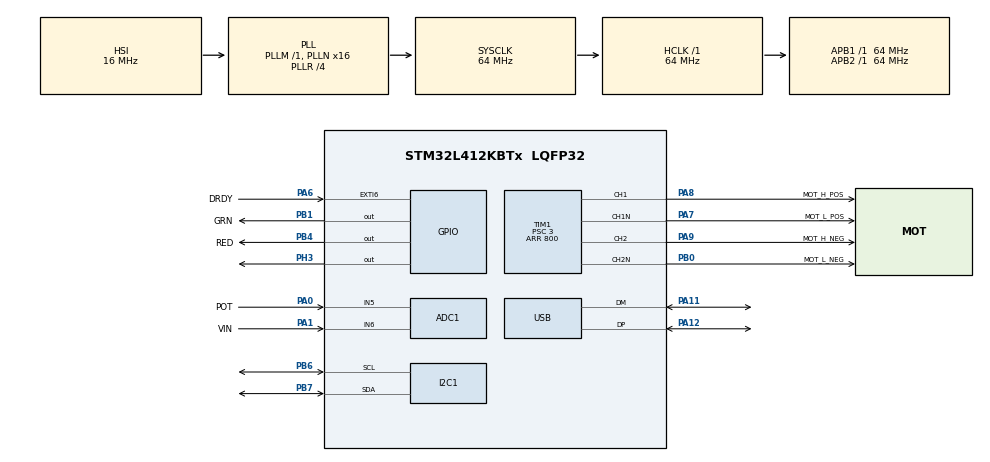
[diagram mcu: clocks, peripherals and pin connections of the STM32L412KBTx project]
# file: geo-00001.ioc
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ADC1.Channel-0\#ChannelRegularConversion=ADC_CHANNEL_VREFINT
ADC1.Channel-1\#ChannelRegularConversion=ADC_CHANNEL_5
ADC1.Channel-2\#ChannelRegularConversion=ADC_CHANNEL_6
ADC1.DMAContinuousRequests=ENABLE
ADC1.EnableInjectedConversion=DISABLE
ADC1.ExternalTrigConv=ADC_EXTERNALTRIG_T1_CC3
ADC1.ExternalTrigConvEdge=ADC_EXTERNALTRIGCONVEDGE_RISINGFALLING
ADC1.NbrOfConversion=3
ADC1.NbrOfConversionFlag=1
ADC1.OffsetNumber-0\#ChannelRegularConversion=ADC_OFFSET_NONE
ADC1.OffsetNumber-1\#ChannelRegularConversion=ADC_OFFSET_NONE
ADC1.OffsetNumber-2\#ChannelRegularConversion=ADC_OFFSET_NONE
ADC1.Rank-0\#ChannelRegularConversion=1
ADC1.Rank-1\#ChannelRegularConversion=2
ADC1.Rank-2\#ChannelRegularConversion=3
ADC1.SamplingTime-0\#ChannelRegularConversion=ADC_SAMPLETIME_6CYCLES_5
ADC1.SamplingTime-1\#ChannelRegularConversion=ADC_SAMPLETIME_24CYCLES_5
ADC1.SamplingTime-2\#ChannelRegularConversion=ADC_SAMPLETIME_92CYCLES_5
ADC1.master=1
ARM.CMSIS.5.6.0.CMSISJjDSP=Library
Dma.ADC1.0.Direction=DMA_PERIPH_TO_MEMORY
Dma.ADC1.0.Instance=DMA1_Channel1
Dma.ADC1.0.MemDataAlignment=DMA_MDATAALIGN_HALFWORD
Dma.ADC1.0.MemInc=DMA_MINC_ENABLE
Dma.ADC1.0.Mode=DMA_CIRCULAR
Dma.ADC1.0.PeriphDataAlignment=DMA_PDATAALIGN_HALFWORD
Dma.ADC1.0.PeriphInc=DMA_PINC_DISABLE
Dma.ADC1.0.Priority=DMA_PRIORITY_LOW
Dma.Request0=ADC1
FREERTOS.HEAP_NUMBER=1
FREERTOS.Tasks01=initial,24,200,StartInitialTask,Default,NULL,Static,initialBuffer,initialControlBlock
FREERTOS.configCHECK_FOR_STACK_OVERFLOW=2
FREERTOS.configENABLE_BACKWARD_COMPATIBILITY=0
FREERTOS.configENABLE_FPU=1
FREERTOS.configMAX_TASK_NAME_LEN=16
FREERTOS.configRECORD_STACK_HIGH_ADDRESS=1
FREERTOS.configTICK_RATE_HZ=100
FREERTOS.configUSE_IDLE_HOOK=1
FREERTOS.configUSE_MALLOC_FAILED_HOOK=1
I2C1.Timing=0x10707DBC
Mcu.Family=STM32L4
Mcu.Name=STM32L412KBTx
Mcu.Package=LQFP32
NVIC.ADC1_2_IRQn=true\:4\:0\:true\:false\:true\:false\:true\:false
NVIC.EXTI9_5_IRQn=true\:7\:0\:true\:false\:true\:false\:true\:true
NVIC.I2C1_ER_IRQn=true\:6\:0\:true\:false\:true\:false\:true\:false
NVIC.I2C1_EV_IRQn=true\:6\:0\:true\:false\:true\:false\:true\:false
NVIC.PriorityGroup=NVIC_PRIORITYGROUP_4
NVIC.TIM2_IRQn=true\:0\:0\:false\:false\:true\:false\:false\:true
NVIC.TimeBase=TIM2_IRQn
NVIC.TimeBaseIP=TIM2
NVIC.USB_IRQn=true\:2\:0\:true\:false\:true\:false\:false\:true
PA0-CK_IN.GPIO_Label=POT
PA0-CK_IN.Signal=ADCx_IN5
PA1.GPIO_Label=VIN
PA1.Signal=ADCx_IN6
PA11.Mode=Device
PA11.Signal=USB_DM
PA12.Mode=Device
PA12.Signal=USB_DP
PA13\ (JTMS/SWDIO).Mode=Trace_Asynchronous_SW
PA13\ (JTMS/SWDIO).Signal=SYS_JTMS-SWDIO
PA14\ (JTCK/SWCLK).Mode=Trace_Asynchronous_SW
PA14\ (JTCK/SWCLK).Signal=SYS_JTCK-SWCLK
PA2.GPIO_Label=IMOT
PA2.Signal=ADCx_IN7
PA6.GPIO_Label=DRDY
PA6.GPIO_ModeDefaultEXTI=GPIO_MODE_IT_RISING
PA6.Signal=GPXTI6
PA7.GPIO_Label=MOT_L_POS
PA7.GPIO_Speed=GPIO_SPEED_FREQ_HIGH
PA7.Mode=PWM Generation1 CH1 CH1N
PA7.Signal=TIM1_CH1N
PA8.GPIO_Label=MOT_H_POS
PA8.GPIO_Speed=GPIO_SPEED_FREQ_HIGH
PA8.Signal=S_TIM1_CH1
PA9.GPIO_Label=MOT_H_NEG
PA9.GPIO_Speed=GPIO_SPEED_FREQ_HIGH
PA9.Signal=S_TIM1_CH2
PB0.GPIO_Label=MOT_L_NEG
PB0.GPIO_Speed=GPIO_SPEED_FREQ_HIGH
PB0.Mode=PWM Generation2 CH2 CH2N
PB0.Signal=TIM1_CH2N
PB1.GPIO_Label=GRN
PB1.Signal=GPIO_Output
PB3\ (JTDO/TRACESWO).Mode=Trace_Asynchronous_SW
PB3\ (JTDO/TRACESWO).Signal=SYS_JTDO-SWO
PB4\ (NJTRST).GPIO_Label=RED
PB4\ (NJTRST).Signal=GPIO_Output
PB6.Mode=I2C
PB6.Signal=I2C1_SCL
PB7.Mode=I2C
PB7.Signal=I2C1_SDA
PH3-BOOT0\ (BOOT0).Signal=GPIO_Output
ProjectManager.HeapSize=0x400
ProjectManager.StackSize=0x400
ProjectManager.TargetToolchain=SW4STM32
RCC.ADCFreq_Value=64000000
RCC.AHBFreq_Value=64000000
RCC.APB1Freq_Value=64000000
RCC.APB1TimFreq_Value=64000000
RCC.APB2Freq_Value=64000000
RCC.APB2TimFreq_Value=64000000
RCC.CK48CLockSelection=RCC_USBCLKSOURCE_HSI48
RCC.CortexFreq_Value=64000000
RCC.HCLKFreq_Value=64000000
RCC.HSE_VALUE=8000000
RCC.HSI48_VALUE=48000000
RCC.HSI_VALUE=16000000
RCC.LSE_VALUE=32768
RCC.MSIClockRange=RCC_MSIRANGE_11
RCC.MSI_VALUE=48000000
RCC.PLLN=16
RCC.PLLR=RCC_PLLR_DIV4
RCC.PLLSourceVirtual=RCC_PLLSOURCE_HSI
RCC.SYSCLKFreq_VALUE=64000000
RCC.SYSCLKSource=RCC_SYSCLKSOURCE_PLLCLK
RCC.USBFreq_Value=48000000
RCC.VCOOutputFreq_Value=256000000
SH.ADCx_IN5.0=ADC1_IN5,IN5-Single-Ended
SH.ADCx_IN6.0=ADC1_IN6,IN6-Single-Ended
SH.ADCx_IN7.0=ADC1_IN7
SH.S_TIM1_CH1.0=TIM1_CH1,PWM Generation1 CH1 CH1N
SH.S_TIM1_CH2.0=TIM1_CH2,PWM Generation2 CH2 CH2N
TIM1.AutomaticOutput=TIM_AUTOMATICOUTPUT_ENABLE
TIM1.Channel-Output\ Compare3\ No\ Output=TIM_CHANNEL_3
TIM1.Channel-PWM\ Generation1\ CH1\ CH1N=TIM_CHANNEL_1
TIM1.Channel-PWM\ Generation2\ CH2\ CH2N=TIM_CHANNEL_2
TIM1.CounterMode=TIM_COUNTERMODE_CENTERALIGNED1
TIM1.DeadTime=1
TIM1.OCMode_3=TIM_OCMODE_TOGGLE
TIM1.OCNIdleState_1=TIM_OCNIDLESTATE_SET
TIM1.OCNIdleState_2=TIM_OCNIDLESTATE_SET
TIM1.Period=800
TIM1.Prescaler=3
TIM1.Pulse-Output\ Compare3\ No\ Output=800
TIM1.TIM_MasterOutputTrigger=TIM_TRGO_OC3REF
USB_DEVICE.APP_RX_DATA_SIZE=1000
USB_DEVICE.APP_TX_DATA_SIZE=1000
USB_DEVICE.CLASS_NAME_FS=CDC
USB_DEVICE.USBD_DEBUG_LEVEL=3
USB_DEVICE.USBD_MAX_NUM_CONFIGURATION=1
USB_DEVICE.USBD_MAX_NUM_INTERFACES=1
USB_DEVICE.VirtualMode=Cdc
USB_DEVICE.VirtualModeFS=Cdc_FS
VP_ADC1_Vref_Input.Mode=IN-Vrefint
VP_ARM.CMSIS_VS_CMSISJjDSP_1.7.0.Mode=CMSISJjDSP
VP_FREERTOS_VS_CMSIS_V2.Mode=CMSIS_V2
VP_SYS_VS_tim2.Mode=TIM2
VP_TIM1_VS_ClockSourceINT.Mode=Internal
VP_TIM1_VS_no_output3.Mode=Output Compare3 No Output
VP_USB_DEVICE_VS_USB_DEVICE_CDC_FS.Mode=CDC_FS
board=custom

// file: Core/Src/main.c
/* USER CODE BEGIN Header */
/**
  ******************************************************************************
  * @file           : main.c
  * @brief          : Main program body
  ******************************************************************************
  * @attention
  *
  * <h2><center>&copy; Copyright (c) 2020 STMicroelectronics.
  * All rights reserved.</center></h2>
  *
  * This software component is licensed by ST under Ultimate Liberty license
  * SLA0044, the "License"; You may not use this file except in compliance with
  * the License. You may obtain a copy of the License at:
  *                             www.st.com/SLA0044
  *
  ******************************************************************************
  */
/* USER CODE END Header */
#include "main.h"
#include "cmsis_os.h"
#include "usb_device.h"

/* USER CODE BEGIN Includes */
#include "compass.h"
#include "motor.h"
#include <i2c.h>
#include "usb_io.h"
#include <SEGGER_RTT.h>
#include "FreeRTOS_CLI.h"
#include "calibration_constants.h"
/* USER CODE END Includes */

typedef StaticTask_t osStaticThreadDef_t;

/* Definitions for initial */
osThreadId_t initialHandle;
uint32_t initialBuffer[ 200 ];
osStaticThreadDef_t initialControlBlock;
const osThreadAttr_t initial_attributes = {
  .name = "initial",
  .stack_mem = &initialBuffer[0],
  .stack_size = sizeof(initialBuffer),
  .cb_mem = &initialControlBlock,
  .cb_size = sizeof(initialControlBlock),
  .priority = (osPriority_t) osPriorityNormal,
};

void SystemClock_Config(void);
static void MX_GPIO_Init(void);
static void MX_DMA_Init(void);
static void MX_ADC1_Init(void);
static void MX_I2C1_Init(void);
static void MX_TIM1_Init(void);
void StartInitialTask(void *argument);

/* USER CODE BEGIN 0 */

void vApplicationMallocFailedHook(){
  while(1);
}
/* USER CODE END 0 */

int main(void)
{

  /* MCU Configuration--------------------------------------------------------*/

  /* Reset of all peripherals, Initializes the Flash interface and the Systick. */
  HAL_Init();

  /* Configure the system clock */
  SystemClock_Config();

  /* Initialize all configured peripherals */
  MX_GPIO_Init();
  MX_DMA_Init();
  MX_ADC1_Init();
  MX_I2C1_Init();
  MX_TIM1_Init();

  /* Init scheduler */
  osKernelInitialize();

  /* Create the thread(s) */
  /* creation of initial */
  initialHandle = osThreadNew(StartInitialTask, NULL, &initial_attributes);

  /* Start scheduler */
  osKernelStart();

  /* We should never get here as control is now taken by the scheduler */
  /* Infinite loop */
  while (1)
  {

  }
}

void SystemClock_Config(void)
{
  RCC_OscInitTypeDef RCC_OscInitStruct = {0};
  RCC_ClkInitTypeDef RCC_ClkInitStruct = {0};
  RCC_PeriphCLKInitTypeDef PeriphClkInit = {0};

  /** Configure the main internal regulator output voltage
  */
  if (HAL_PWREx_ControlVoltageScaling(PWR_REGULATOR_VOLTAGE_SCALE1) != HAL_OK)
  {
    Error_Handler();
  }
  /** Initializes the RCC Oscillators according to the specified parameters
  * in the RCC_OscInitTypeDef structure.
  */
  RCC_OscInitStruct.OscillatorType = RCC_OSCILLATORTYPE_HSI48|RCC_OSCILLATORTYPE_HSI;
  RCC_OscInitStruct.HSIState = RCC_HSI_ON;
  RCC_OscInitStruct.HSI48State = RCC_HSI48_ON;
  RCC_OscInitStruct.HSICalibrationValue = RCC_HSICALIBRATION_DEFAULT;
  RCC_OscInitStruct.PLL.PLLState = RCC_PLL_ON;
  RCC_OscInitStruct.PLL.PLLSource = RCC_PLLSOURCE_HSI;
  RCC_OscInitStruct.PLL.PLLM = 1;
  RCC_OscInitStruct.PLL.PLLN = 16;
  RCC_OscInitStruct.PLL.PLLQ = RCC_PLLQ_DIV2;
  RCC_OscInitStruct.PLL.PLLR = RCC_PLLR_DIV4;
  if (HAL_RCC_OscConfig(&RCC_OscInitStruct) != HAL_OK)
  {
    Error_Handler();
  }
  /** Initializes the CPU, AHB and APB buses clocks
  */
  RCC_ClkInitStruct.ClockType = RCC_CLOCKTYPE_HCLK|RCC_CLOCKTYPE_SYSCLK
                              |RCC_CLOCKTYPE_PCLK1|RCC_CLOCKTYPE_PCLK2;
  RCC_ClkInitStruct.SYSCLKSource = RCC_SYSCLKSOURCE_PLLCLK;
  RCC_ClkInitStruct.AHBCLKDivider = RCC_SYSCLK_DIV1;
  RCC_ClkInitStruct.APB1CLKDivider = RCC_HCLK_DIV1;
  RCC_ClkInitStruct.APB2CLKDivider = RCC_HCLK_DIV1;

  if (HAL_RCC_ClockConfig(&RCC_ClkInitStruct, FLASH_LATENCY_3) != HAL_OK)
  {
    Error_Handler();
  }
  PeriphClkInit.PeriphClockSelection = RCC_PERIPHCLK_I2C1|RCC_PERIPHCLK_USB
                              |RCC_PERIPHCLK_ADC;
  PeriphClkInit.I2c1ClockSelection = RCC_I2C1CLKSOURCE_PCLK1;
  PeriphClkInit.UsbClockSelection = RCC_USBCLKSOURCE_HSI48;
  if (HAL_RCCEx_PeriphCLKConfig(&PeriphClkInit) != HAL_OK)
  {
    Error_Handler();
  }
}

static void MX_ADC1_Init(void)
{

  LL_ADC_InitTypeDef ADC_InitStruct = {0};
  LL_ADC_REG_InitTypeDef ADC_REG_InitStruct = {0};
  LL_ADC_CommonInitTypeDef ADC_CommonInitStruct = {0};

  LL_GPIO_InitTypeDef GPIO_InitStruct = {0};

  /* Peripheral clock enable */
  LL_AHB2_GRP1_EnableClock(LL_AHB2_GRP1_PERIPH_ADC);

  LL_AHB2_GRP1_EnableClock(LL_AHB2_GRP1_PERIPH_GPIOA);
  /**ADC1 GPIO Configuration
  PA0-CK_IN   ------> ADC1_IN5
  PA1   ------> ADC1_IN6
  PA2   ------> ADC1_IN7
  */
  GPIO_InitStruct.Pin = POT_Pin|VIN_Pin|IMOT_Pin;
  GPIO_InitStruct.Mode = LL_GPIO_MODE_ANALOG;
  GPIO_InitStruct.Pull = LL_GPIO_PULL_NO;
  LL_GPIO_Init(GPIOA, &GPIO_InitStruct);

  /* ADC1 DMA Init */

  /* ADC1 Init */
  LL_DMA_SetPeriphRequest(DMA1, LL_DMA_CHANNEL_1, LL_DMA_REQUEST_0);

  LL_DMA_SetDataTransferDirection(DMA1, LL_DMA_CHANNEL_1, LL_DMA_DIRECTION_PERIPH_TO_MEMORY);

  LL_DMA_SetChannelPriorityLevel(DMA1, LL_DMA_CHANNEL_1, LL_DMA_PRIORITY_LOW);

  LL_DMA_SetMode(DMA1, LL_DMA_CHANNEL_1, LL_DMA_MODE_CIRCULAR);

  LL_DMA_SetPeriphIncMode(DMA1, LL_DMA_CHANNEL_1, LL_DMA_PERIPH_NOINCREMENT);

  LL_DMA_SetMemoryIncMode(DMA1, LL_DMA_CHANNEL_1, LL_DMA_MEMORY_INCREMENT);

  LL_DMA_SetPeriphSize(DMA1, LL_DMA_CHANNEL_1, LL_DMA_PDATAALIGN_HALFWORD);

  LL_DMA_SetMemorySize(DMA1, LL_DMA_CHANNEL_1, LL_DMA_MDATAALIGN_HALFWORD);

  /* ADC1 interrupt Init */
  NVIC_SetPriority(ADC1_2_IRQn, NVIC_EncodePriority(NVIC_GetPriorityGrouping(),4, 0));
  NVIC_EnableIRQ(ADC1_2_IRQn);

  /** Common config
  */
  ADC_InitStruct.Resolution = LL_ADC_RESOLUTION_12B;
  ADC_InitStruct.DataAlignment = LL_ADC_DATA_ALIGN_RIGHT;
  ADC_InitStruct.LowPowerMode = LL_ADC_LP_MODE_NONE;
  LL_ADC_Init(ADC1, &ADC_InitStruct);
  ADC_REG_InitStruct.TriggerSource = LL_ADC_REG_TRIG_EXT_TIM1_CH3;
  ADC_REG_InitStruct.SequencerLength = LL_ADC_REG_SEQ_SCAN_ENABLE_3RANKS;
  ADC_REG_InitStruct.SequencerDiscont = LL_ADC_REG_SEQ_DISCONT_DISABLE;
  ADC_REG_InitStruct.ContinuousMode = LL_ADC_REG_CONV_SINGLE;
  ADC_REG_InitStruct.DMATransfer = LL_ADC_REG_DMA_TRANSFER_UNLIMITED;
  ADC_REG_InitStruct.Overrun = LL_ADC_REG_OVR_DATA_PRESERVED;
  LL_ADC_REG_Init(ADC1, &ADC_REG_InitStruct);
  LL_ADC_SetCommonPathInternalCh(__LL_ADC_COMMON_INSTANCE(ADC1), LL_ADC_PATH_INTERNAL_VREFINT);

   /* Disable ADC deep power down (enabled by default after reset state) */
   LL_ADC_DisableDeepPowerDown(ADC1);
   /* Enable ADC internal voltage regulator */
   LL_ADC_EnableInternalRegulator(ADC1);
   /* Delay for ADC internal voltage regulator stabilization. */
   /* Compute number of CPU cycles to wait for, from delay in us. */
   /* Note: Variable divided by 2 to compensate partially */
   /* CPU processing cycles (depends on compilation optimization). */
   /* Note: If system core clock frequency is below 200kHz, wait time */
   /* is only a few CPU processing cycles. */
   uint32_t wait_loop_index;
   wait_loop_index = ((LL_ADC_DELAY_INTERNAL_REGUL_STAB_US * (SystemCoreClock / (100000 * 2))) / 10);
   while(wait_loop_index != 0)
     {
   wait_loop_index--;
     }
  ADC_CommonInitStruct.CommonClock = LL_ADC_CLOCK_ASYNC_DIV1;
  ADC_CommonInitStruct.Multimode = LL_ADC_MULTI_INDEPENDENT;
  LL_ADC_CommonInit(__LL_ADC_COMMON_INSTANCE(ADC1), &ADC_CommonInitStruct);
  LL_ADC_REG_SetTriggerEdge(ADC1, LL_ADC_REG_TRIG_EXT_RISINGFALLING);
  /** Configure Regular Channel
  */
  LL_ADC_REG_SetSequencerRanks(ADC1, LL_ADC_REG_RANK_1, LL_ADC_PATH_INTERNAL_VREFINT);
  LL_ADC_SetChannelSamplingTime(ADC1, LL_ADC_PATH_INTERNAL_VREFINT, LL_ADC_SAMPLINGTIME_6CYCLES_5);
  LL_ADC_SetChannelSingleDiff(ADC1, LL_ADC_PATH_INTERNAL_VREFINT, LL_ADC_SINGLE_ENDED);
  /** Configure Regular Channel
  */
  LL_ADC_REG_SetSequencerRanks(ADC1, LL_ADC_REG_RANK_2, LL_ADC_CHANNEL_5);
  LL_ADC_SetChannelSamplingTime(ADC1, LL_ADC_CHANNEL_5, LL_ADC_SAMPLINGTIME_24CYCLES_5);
  LL_ADC_SetChannelSingleDiff(ADC1, LL_ADC_CHANNEL_5, LL_ADC_SINGLE_ENDED);
  /** Configure Regular Channel
  */
  LL_ADC_REG_SetSequencerRanks(ADC1, LL_ADC_REG_RANK_3, LL_ADC_CHANNEL_6);
  LL_ADC_SetChannelSamplingTime(ADC1, LL_ADC_CHANNEL_6, LL_ADC_SAMPLINGTIME_92CYCLES_5);
  LL_ADC_SetChannelSingleDiff(ADC1, LL_ADC_CHANNEL_6, LL_ADC_SINGLE_ENDED);

}

static void MX_I2C1_Init(void)
{

  LL_I2C_InitTypeDef I2C_InitStruct = {0};

  LL_GPIO_InitTypeDef GPIO_InitStruct = {0};

  LL_AHB2_GRP1_EnableClock(LL_AHB2_GRP1_PERIPH_GPIOB);
  /**I2C1 GPIO Configuration
  PB6   ------> I2C1_SCL
  PB7   ------> I2C1_SDA
  */
  GPIO_InitStruct.Pin = LL_GPIO_PIN_6|LL_GPIO_PIN_7;
  GPIO_InitStruct.Mode = LL_GPIO_MODE_ALTERNATE;
  GPIO_InitStruct.Speed = LL_GPIO_SPEED_FREQ_VERY_HIGH;
  GPIO_InitStruct.OutputType = LL_GPIO_OUTPUT_OPENDRAIN;
  GPIO_InitStruct.Pull = LL_GPIO_PULL_UP;
  GPIO_InitStruct.Alternate = LL_GPIO_AF_4;
  LL_GPIO_Init(GPIOB, &GPIO_InitStruct);

  /* Peripheral clock enable */
  LL_APB1_GRP1_EnableClock(LL_APB1_GRP1_PERIPH_I2C1);

  /* I2C1 interrupt Init */
  NVIC_SetPriority(I2C1_EV_IRQn, NVIC_EncodePriority(NVIC_GetPriorityGrouping(),6, 0));
  NVIC_EnableIRQ(I2C1_EV_IRQn);
  NVIC_SetPriority(I2C1_ER_IRQn, NVIC_EncodePriority(NVIC_GetPriorityGrouping(),6, 0));
  NVIC_EnableIRQ(I2C1_ER_IRQn);

  /** I2C Initialization
  */
  LL_I2C_EnableAutoEndMode(I2C1);
  LL_I2C_DisableOwnAddress2(I2C1);
  LL_I2C_DisableGeneralCall(I2C1);
  LL_I2C_EnableClockStretching(I2C1);
  I2C_InitStruct.PeripheralMode = LL_I2C_MODE_I2C;
  I2C_InitStruct.Timing = 0x10707DBC;
  I2C_InitStruct.AnalogFilter = LL_I2C_ANALOGFILTER_ENABLE;
  I2C_InitStruct.DigitalFilter = 0;
  I2C_InitStruct.OwnAddress1 = 0;
  I2C_InitStruct.TypeAcknowledge = LL_I2C_ACK;
  I2C_InitStruct.OwnAddrSize = LL_I2C_OWNADDRESS1_7BIT;
  LL_I2C_Init(I2C1, &I2C_InitStruct);
  LL_I2C_SetOwnAddress2(I2C1, 0, LL_I2C_OWNADDRESS2_NOMASK);

}

static void MX_TIM1_Init(void)
{

  LL_TIM_InitTypeDef TIM_InitStruct = {0};
  LL_TIM_OC_InitTypeDef TIM_OC_InitStruct = {0};
  LL_TIM_BDTR_InitTypeDef TIM_BDTRInitStruct = {0};

  LL_GPIO_InitTypeDef GPIO_InitStruct = {0};

  /* Peripheral clock enable */
  LL_APB2_GRP1_EnableClock(LL_APB2_GRP1_PERIPH_TIM1);

  TIM_InitStruct.Prescaler = 3;
  TIM_InitStruct.CounterMode = LL_TIM_COUNTERMODE_CENTER_UP;
  TIM_InitStruct.Autoreload = 800;
  TIM_InitStruct.ClockDivision = LL_TIM_CLOCKDIVISION_DIV1;
  TIM_InitStruct.RepetitionCounter = 0;
  LL_TIM_Init(TIM1, &TIM_InitStruct);
  LL_TIM_DisableARRPreload(TIM1);
  LL_TIM_SetClockSource(TIM1, LL_TIM_CLOCKSOURCE_INTERNAL);
  LL_TIM_OC_EnablePreload(TIM1, LL_TIM_CHANNEL_CH1);
  TIM_OC_InitStruct.OCMode = LL_TIM_OCMODE_PWM1;
  TIM_OC_InitStruct.OCState = LL_TIM_OCSTATE_DISABLE;
  TIM_OC_InitStruct.OCNState = LL_TIM_OCSTATE_DISABLE;
  TIM_OC_InitStruct.CompareValue = 0;
  TIM_OC_InitStruct.OCPolarity = LL_TIM_OCPOLARITY_HIGH;
  TIM_OC_InitStruct.OCNPolarity = LL_TIM_OCPOLARITY_HIGH;
  TIM_OC_InitStruct.OCIdleState = LL_TIM_OCIDLESTATE_LOW;
  TIM_OC_InitStruct.OCNIdleState = LL_TIM_OCIDLESTATE_HIGH;
  LL_TIM_OC_Init(TIM1, LL_TIM_CHANNEL_CH1, &TIM_OC_InitStruct);
  LL_TIM_OC_DisableFast(TIM1, LL_TIM_CHANNEL_CH1);
  LL_TIM_OC_EnablePreload(TIM1, LL_TIM_CHANNEL_CH2);
  TIM_OC_InitStruct.OCState = LL_TIM_OCSTATE_DISABLE;
  TIM_OC_InitStruct.OCNState = LL_TIM_OCSTATE_DISABLE;
  LL_TIM_OC_Init(TIM1, LL_TIM_CHANNEL_CH2, &TIM_OC_InitStruct);
  LL_TIM_OC_DisableFast(TIM1, LL_TIM_CHANNEL_CH2);
  TIM_OC_InitStruct.OCMode = LL_TIM_OCMODE_TOGGLE;
  TIM_OC_InitStruct.OCState = LL_TIM_OCSTATE_DISABLE;
  TIM_OC_InitStruct.OCNState = LL_TIM_OCSTATE_DISABLE;
  TIM_OC_InitStruct.CompareValue = 800;
  TIM_OC_InitStruct.OCNIdleState = LL_TIM_OCIDLESTATE_LOW;
  LL_TIM_OC_Init(TIM1, LL_TIM_CHANNEL_CH3, &TIM_OC_InitStruct);
  LL_TIM_OC_DisableFast(TIM1, LL_TIM_CHANNEL_CH3);
  LL_TIM_SetOCRefClearInputSource(TIM1, LL_TIM_OCREF_CLR_INT_NC);
  LL_TIM_DisableExternalClock(TIM1);
  LL_TIM_ConfigETR(TIM1, LL_TIM_ETR_POLARITY_NONINVERTED, LL_TIM_ETR_PRESCALER_DIV1, LL_TIM_ETR_FILTER_FDIV1);
  LL_TIM_SetTriggerOutput(TIM1, LL_TIM_TRGO_OC3REF);
  LL_TIM_SetTriggerOutput2(TIM1, LL_TIM_TRGO2_RESET);
  LL_TIM_DisableMasterSlaveMode(TIM1);
  TIM_BDTRInitStruct.OSSRState = LL_TIM_OSSR_DISABLE;
  TIM_BDTRInitStruct.OSSIState = LL_TIM_OSSI_DISABLE;
  TIM_BDTRInitStruct.LockLevel = LL_TIM_LOCKLEVEL_OFF;
  TIM_BDTRInitStruct.DeadTime = 1;
  TIM_BDTRInitStruct.BreakState = LL_TIM_BREAK_DISABLE;
  TIM_BDTRInitStruct.BreakPolarity = LL_TIM_BREAK_POLARITY_HIGH;
  TIM_BDTRInitStruct.BreakFilter = LL_TIM_BREAK_FILTER_FDIV1;
  TIM_BDTRInitStruct.Break2State = LL_TIM_BREAK2_DISABLE;
  TIM_BDTRInitStruct.Break2Polarity = LL_TIM_BREAK2_POLARITY_HIGH;
  TIM_BDTRInitStruct.Break2Filter = LL_TIM_BREAK2_FILTER_FDIV1;
  TIM_BDTRInitStruct.AutomaticOutput = LL_TIM_AUTOMATICOUTPUT_ENABLE;
  LL_TIM_BDTR_Init(TIM1, &TIM_BDTRInitStruct);
  LL_AHB2_GRP1_EnableClock(LL_AHB2_GRP1_PERIPH_GPIOA);
  LL_AHB2_GRP1_EnableClock(LL_AHB2_GRP1_PERIPH_GPIOB);
  /**TIM1 GPIO Configuration
  PA7   ------> TIM1_CH1N
  PB0   ------> TIM1_CH2N
  PA8   ------> TIM1_CH1
  PA9   ------> TIM1_CH2
  */
  GPIO_InitStruct.Pin = MOT_L_POS_Pin|MOT_H_POS_Pin|MOT_H_NEG_Pin;
  GPIO_InitStruct.Mode = LL_GPIO_MODE_ALTERNATE;
  GPIO_InitStruct.Speed = LL_GPIO_SPEED_FREQ_HIGH;
  GPIO_InitStruct.OutputType = LL_GPIO_OUTPUT_PUSHPULL;
  GPIO_InitStruct.Pull = LL_GPIO_PULL_NO;
  GPIO_InitStruct.Alternate = LL_GPIO_AF_1;
  LL_GPIO_Init(GPIOA, &GPIO_InitStruct);

  GPIO_InitStruct.Pin = MOT_L_NEG_Pin;
  GPIO_InitStruct.Mode = LL_GPIO_MODE_ALTERNATE;
  GPIO_InitStruct.Speed = LL_GPIO_SPEED_FREQ_HIGH;
  GPIO_InitStruct.OutputType = LL_GPIO_OUTPUT_PUSHPULL;
  GPIO_InitStruct.Pull = LL_GPIO_PULL_NO;
  GPIO_InitStruct.Alternate = LL_GPIO_AF_1;
  LL_GPIO_Init(MOT_L_NEG_GPIO_Port, &GPIO_InitStruct);

}

static void MX_DMA_Init(void)
{

  /* Init with LL driver */
  /* DMA controller clock enable */
  LL_AHB1_GRP1_EnableClock(LL_AHB1_GRP1_PERIPH_DMA1);

}

static void MX_GPIO_Init(void)
{
  LL_EXTI_InitTypeDef EXTI_InitStruct = {0};
  LL_GPIO_InitTypeDef GPIO_InitStruct = {0};

  /* GPIO Ports Clock Enable */
  LL_AHB2_GRP1_EnableClock(LL_AHB2_GRP1_PERIPH_GPIOC);
  LL_AHB2_GRP1_EnableClock(LL_AHB2_GRP1_PERIPH_GPIOA);
  LL_AHB2_GRP1_EnableClock(LL_AHB2_GRP1_PERIPH_GPIOB);
  LL_AHB2_GRP1_EnableClock(LL_AHB2_GRP1_PERIPH_GPIOH);

  /**/
  LL_GPIO_ResetOutputPin(GPIOB, GRN_Pin|RED_Pin);

  /**/
  LL_GPIO_ResetOutputPin(GPIOH, LL_GPIO_PIN_3);

  /**/
  GPIO_InitStruct.Pin = LL_GPIO_PIN_14|LL_GPIO_PIN_15;
  GPIO_InitStruct.Mode = LL_GPIO_MODE_ANALOG;
  GPIO_InitStruct.Pull = LL_GPIO_PULL_NO;
  LL_GPIO_Init(GPIOC, &GPIO_InitStruct);

  /**/
  GPIO_InitStruct.Pin = LL_GPIO_PIN_3|LL_GPIO_PIN_4|LL_GPIO_PIN_5|LL_GPIO_PIN_10
                          |LL_GPIO_PIN_15;
  GPIO_InitStruct.Mode = LL_GPIO_MODE_ANALOG;
  GPIO_InitStruct.Pull = LL_GPIO_PULL_NO;
  LL_GPIO_Init(GPIOA, &GPIO_InitStruct);

  /**/
  GPIO_InitStruct.Pin = GRN_Pin|RED_Pin;
  GPIO_InitStruct.Mode = LL_GPIO_MODE_OUTPUT;
  GPIO_InitStruct.Speed = LL_GPIO_SPEED_FREQ_LOW;
  GPIO_InitStruct.OutputType = LL_GPIO_OUTPUT_PUSHPULL;
  GPIO_InitStruct.Pull = LL_GPIO_PULL_NO;
  LL_GPIO_Init(GPIOB, &GPIO_InitStruct);

  /**/
  GPIO_InitStruct.Pin = LL_GPIO_PIN_5;
  GPIO_InitStruct.Mode = LL_GPIO_MODE_ANALOG;
  GPIO_InitStruct.Pull = LL_GPIO_PULL_NO;
  LL_GPIO_Init(GPIOB, &GPIO_InitStruct);

  /**/
  GPIO_InitStruct.Pin = LL_GPIO_PIN_3;
  GPIO_InitStruct.Mode = LL_GPIO_MODE_OUTPUT;
  GPIO_InitStruct.Speed = LL_GPIO_SPEED_FREQ_LOW;
  GPIO_InitStruct.OutputType = LL_GPIO_OUTPUT_PUSHPULL;
  GPIO_InitStruct.Pull = LL_GPIO_PULL_NO;
  LL_GPIO_Init(GPIOH, &GPIO_InitStruct);

  /**/
  LL_SYSCFG_SetEXTISource(LL_SYSCFG_EXTI_PORTA, LL_SYSCFG_EXTI_LINE6);

  /**/
  EXTI_InitStruct.Line_0_31 = LL_EXTI_LINE_6;
  EXTI_InitStruct.Line_32_63 = LL_EXTI_LINE_NONE;
  EXTI_InitStruct.LineCommand = ENABLE;
  EXTI_InitStruct.Mode = LL_EXTI_MODE_IT;
  EXTI_InitStruct.Trigger = LL_EXTI_TRIGGER_RISING;
  LL_EXTI_Init(&EXTI_InitStruct);

  /**/
  LL_GPIO_SetPinPull(DRDY_GPIO_Port, DRDY_Pin, LL_GPIO_PULL_NO);

  /**/
  LL_GPIO_SetPinMode(DRDY_GPIO_Port, DRDY_Pin, LL_GPIO_MODE_INPUT);

  /* EXTI interrupt init*/
  NVIC_SetPriority(EXTI9_5_IRQn, NVIC_EncodePriority(NVIC_GetPriorityGrouping(),7, 0));
  NVIC_EnableIRQ(EXTI9_5_IRQn);

}

/* USER CODE BEGIN 4 */

static uint8_t line[128];
static uint8_t last_line[128];
static uint8_t response[256];
/* USER CODE END 4 */

/* USER CODE BEGIN Header_StartInitialTask */
/**
  * @brief  Function implementing the initial thread.
  * @param  argument: Not used
  * @retval None
  */
_Noreturn
/* USER CODE END Header_StartInitialTask */
void StartInitialTask(void *argument)
{
  /* init code for USB_DEVICE */
  MX_USB_DEVICE_Init();
  /* USER CODE BEGIN 5 */

  // do this first!
  init_calibration_constants();
  i2c_init();
  init_compass();
  init_motor();

  /* Infinite loop */
  for(;;)
  {
    unsigned caret = 0;
    for (unsigned eol=0; !eol; ) {
      char ch = get_usb_char();
      switch (ch) {
      case 1: // ctrl-a repeats the last command
        strncpy(line, last_line, sizeof(line));
        eol = 1;
        caret = 0;
        break;
      case '\b':
        if (caret) {
          caret--;
          print_usb_string("\b \b");
        }
        break;
      case '\r':
      case '\n':
        line[caret++] = '\0';
        strncpy(last_line, line, sizeof(line));
        write_usb("\r\n", 2);
        eol = 1;
        caret = 0;
        break;
      default:
        put_usb_char(ch);
        if (caret != 126)
          line[caret++] = ch;
      }
    }
    if (line[0] != '\0') {
      portBASE_TYPE ret;
      do {
        ret = FreeRTOS_CLIProcessCommand(line, response, sizeof(response));
        print_usb_string(response);
      } while(ret);
      SEGGER_RTT_WriteString(0, "\nReceived: ");
      SEGGER_RTT_WriteString(0, line);
      SEGGER_RTT_Write(0, "\n", 1);
    }
    print_usb_string("\r\n> ");

  }
  /* USER CODE END 5 */
}

void HAL_TIM_PeriodElapsedCallback(TIM_HandleTypeDef *htim)
{
  if (htim->Instance == TIM2) {
    HAL_IncTick();
  }
}

void Error_Handler(void)
{
}

/************************ (C) COPYRIGHT STMicroelectronics *****END OF FILE****/

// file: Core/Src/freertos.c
/* USER CODE BEGIN Header */
/**
  ******************************************************************************
  * File Name          : freertos.c
  * Description        : Code for freertos applications
  ******************************************************************************
  * @attention
  *
  * <h2><center>&copy; Copyright (c) 2020 STMicroelectronics.
  * All rights reserved.</center></h2>
  *
  * This software component is licensed by ST under Ultimate Liberty license
  * SLA0044, the "License"; You may not use this file except in compliance with
  * the License. You may obtain a copy of the License at:
  *                             www.st.com/SLA0044
  *
  ******************************************************************************
  */
/* USER CODE END Header */

#include "FreeRTOS.h"
#include "task.h"
#include "main.h"

/* Hook prototypes */
void vApplicationIdleHook(void);
void vApplicationStackOverflowHook(TaskHandle_t xTask, signed char *pcTaskName);
void vApplicationMallocFailedHook(void);

/* USER CODE BEGIN 2 */
__weak void vApplicationIdleHook( void )
{
   /* vApplicationIdleHook() will only be called if configUSE_IDLE_HOOK is set
   to 1 in FreeRTOSConfig.h. It will be called on each iteration of the idle
   task. It is essential that code added to this hook function never attempts
   to block in any way (for example, call xQueueReceive() with a block time
   specified, or call vTaskDelay()). If the application makes use of the
   vTaskDelete() API function (as this demo application does) then it is also
   important that vApplicationIdleHook() is permitted to return to its calling
   function, because it is the responsibility of the idle task to clean up
   memory allocated by the kernel to any task that has since been deleted. */
}
/* USER CODE END 2 */

/* USER CODE BEGIN 4 */
__weak void vApplicationStackOverflowHook(TaskHandle_t xTask, signed char *pcTaskName)
{
   /* Run time stack overflow checking is performed if
   configCHECK_FOR_STACK_OVERFLOW is defined to 1 or 2. This hook function is
   called if a stack overflow is detected. */
}
/* USER CODE END 4 */

/* USER CODE BEGIN 5 */
__weak void vApplicationMallocFailedHook(void)
{
   /* vApplicationMallocFailedHook() will only be called if
   configUSE_MALLOC_FAILED_HOOK is set to 1 in FreeRTOSConfig.h. It is a hook
   function that will get called if a call to pvPortMalloc() fails.
   pvPortMalloc() is called internally by the kernel whenever a task, queue,
   timer or semaphore is created. It is also called by various parts of the
   demo application. If heap_1.c or heap_2.c are used, then the size of the
   heap available to pvPortMalloc() is defined by configTOTAL_HEAP_SIZE in
   FreeRTOSConfig.h, and the xPortGetFreeHeapSize() API function can be used
   to query the size of free heap space that remains (although it does not
   provide information on how the remaining heap might be fragmented). */
}
/* USER CODE END 5 */

/************************ (C) COPYRIGHT STMicroelectronics *****END OF FILE****/
